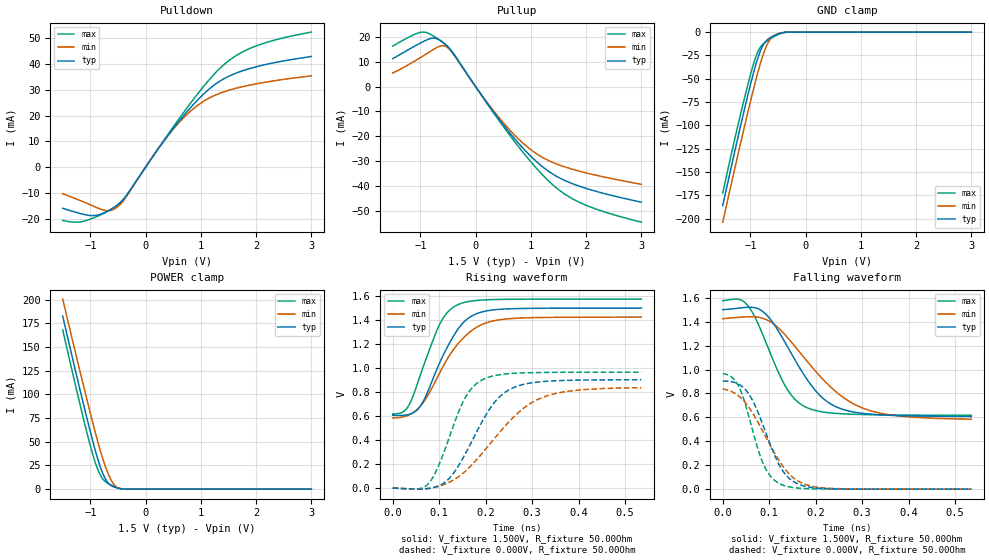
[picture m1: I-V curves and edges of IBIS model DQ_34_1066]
| [Disclaimer]  This software code and all associated documentation, comments
| or other information (collectively "Software") is provided
| "AS IS" without warranty of any kind. MICRON TECHNOLOGY, INC.
| ("MTI") EXPRESSLY DISCLAIMS ALL WARRANTIES EXPRESS OR IMPLIED,
| INCLUDING BUT NOT LIMITED TO, NONINFRINGEMENT OF THIRD PARTY
| RIGHTS, AND ANY IMPLIED WARRANTIES OF MERCHANTABILITY OR
| FITNESS FOR ANY PARTICULAR PURPOSE. MTI DOES NOT WARRANT THAT
| THE SOFTWARE WILL MEET YOUR REQUIREMENTS, OR THAT THE
| OPERATION OF THE SOFTWARE WILL BE UNINTERRUPTED OR ERROR-FREE.
| FURTHERMORE, MTI DOES NOT MAKE ANY REPRESENTATIONS REGARDING
| THE USE OR THE RESULTS OF THE USE OF THE SOFTWARE IN TERMS OF
| ITS CORRECTNESS, ACCURACY, RELIABILITY, OR OTHERWISE. THE
| ENTIRE RISK ARISING OUT OF USE OR PERFORMANCE OF THE SOFTWARE
| REMAINS WITH YOU. IN NO EVENT SHALL MTI, ITS AFFILIATED
| COMPANIES OR THEIR SUPPLIERS BE LIABLE FOR ANY DIRECT,
| INDIRECT, CONSEQUENTIAL, INCIDENTAL, OR SPECIAL DAMAGES
| (INCLUDING, WITHOUT LIMITATION, DAMAGES FOR LOSS OF PROFITS,
| BUSINESS INTERRUPTION, OR LOSS OF INFORMATION) ARISING OUT OF
| YOUR USE OF OR INABILITY TO USE THE SOFTWARE, EVEN IF MTI HAS
| BEEN ADVISED OF THE POSSIBILITY OF SUCH DAMAGES. Because some
| jurisdictions prohibit the exclusion or limitation of
| liability for consequential or incidental damages, the above
| limitation may not apply to you.
| [Copyright] Copyright 2015 Micron Technology, Inc. All rights reserved.
| From v00h.ibs, Micron Technology,Inc.
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| MODEL DQ_34_1066 (34 Ohm Data I/O with no ODT, 800/1066Mbps)
[Model]   DQ_34_1066
Model_type   I/O
Vinl = 575.000mV
Vinh = 925.000mV
Vmeas = 750.000mV
Vref = 750.000mV
Cref = 0.0pF
Rref = 25.000Ohm
|   typ   min   max
|C_comp   1.100pF   1.025pF   1.175pF
C_comp_pullup   0.5500pF   0.5125pF   0.5875pF
C_comp_pulldown   0.5500pF   0.5125pF   0.5875pF
[Model Spec]
| Input threshold voltage corners
Vinl   0.5750V   0.5375V   0.6125V
Vinh   0.9250V   0.8875V   0.9625V
| Measurement voltage corners
Vmeas   0.7500V   0.7125V   0.7875V
| Timing spec test load voltage corners
Vref   0.7500V   0.7125V   0.7875V
| Dynamic Overshoot Parameters from DDR3 Specification
|D_overshoot_ampl_h   0.40   NA   NA
|D_overshoot_ampl_l   0.40   NA   NA
|D_overshoot_area_h   0.19n   NA   NA
|D_overshoot_area_l   0.19n   NA   NA
[Receiver Thresholds]
Vth   =  0.750V
Vth_min  =  0.7350V
Vth_max  =  0.7650V
Vinh_ac  =  0.175V
Vinh_dc  =  0.100V
Vinl_ac  = -0.175V
Vinl_dc  = -0.100V
Tslew_ac =  5.000ns |Not specified, so set to high value
Threshold_sensitivity = 0.50
Reference_supply Pullup_ref
[Voltage Range]   1.5000V   1.4250V   1.5750V
[Pullup Reference]   1.5000V   1.4250V   1.5750V
| Junction Temperature (Ambient temp is 35C typ, 95C min, 0C max)
[Temperature Range]   50.0   110.0   0.0
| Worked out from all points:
|   slope of the pulldown table from 0 to 0.225 V, typ, clamps not added: 32.2 ohm
|   slope of the pullup table from 0 to 0.225 V, typ, clamps not added: 31.5 ohm
|   GND clamp passes 1 mA (typ) near -0.44 V on its own axis
|   POWER clamp passes 1 mA (typ) near -0.50 V on its own axis
|   falling waveform, V_fixture 1.500V, R_fixture 50.00Ohm: 20-80 % time 88.8ps typ, 123ps min, 67.3ps max; typ from 1.5 V to 0.607 V
|   rising waveform, V_fixture 1.500V, R_fixture 50.00Ohm: 20-80 % time 66.4ps typ, 81.1ps min, 55.9ps max; typ from 0.607 V to 1.5 V
|   rising waveform, V_fixture 0.000V, R_fixture 50.00Ohm: 20-80 % time 80.2ps typ, 119ps min, 59.6ps max; typ from 0 V to 0.903 V
|   falling waveform, V_fixture 0.000V, R_fixture 50.00Ohm: 20-80 % time 58.2ps typ, 75.2ps min, 46ps max; typ from 0.903 V to 0 V
[Pulldown]
|   Voltage   I(typ)   I(min)   I(max)
-1.5V     -16.01mA   -10.35mA   -20.75mA
-1.205V   -17.91mA   -12.8mA    -21.37mA
-925mV    -18.84mA   -15.35mA   -19.59mA
-740mV    -17.66mA   -16.79mA   -17.79mA
-590mV    -15.9mA    -16.56mA   -15.98mA
-360mV    -11.44mA   -11.87mA   -11.4mA
460mV     13.84mA    13.69mA    14.4mA
995mV     27.25mA    24.81mA    29.9mA
1.37V     33.74mA    28.91mA    38.9mA
1.74V     37.33mA    31.2mA     44.61mA
2.235V    40.17mA    33.24mA    48.77mA
3V        43.01mA    35.5mA     52.49mA
[GND Clamp]
|   Voltage   I(typ)   I(min)   I(max)
-1.5V     -186mA     -203.8mA   -172.6mA
-1.315V   -136.6mA   -155mA     -123.3mA
-1.16V    -96.29mA   -115mA     -83.85mA
-1.02V    -61.55mA   -79.79mA   -50.66mA
-925mV    -39.97mA   -57.01mA   -30.88mA
-845mV    -24.55mA   -39.15mA   -18.86mA
-765mV    -13.68mA   -23.7mA    -12.61mA
-675mV    -7.378mA   -11.11mA   -8.737mA
-585mV    -4.249mA   -4.347mA   -5.415mA
-475mV    -1.572mA   -1.264mA   -2.107mA
-320mV    -80.23uA   -77.6uA    -95.47uA
3V        0A         0A         0A
[Pullup]
|   Voltage   I(typ)   I(min)   I(max)
-1.5V     11.25mA    5.485mA    16.33mA
-935mV    18.28mA    12.56mA    21.97mA
-730mV    19.46mA    15.38mA    19.94mA
-540mV    16.84mA    16.23mA    16.85mA
-415mV    13.68mA    13.48mA    13.81mA
175mV     -5.578mA   -5.368mA   -5.743mA
495mV     -15.19mA   -14.36mA   -15.85mA
855mV     -24.74mA   -22.74mA   -26.39mA
1.185V    -31.82mA   -28.2mA    -34.93mA
1.525V    -36.87mA   -31.68mA   -41.92mA
1.865V    -40.04mA   -34mA      -46.48mA
3V        -46.59mA   -39.4mA    -54.64mA
[POWER Clamp]
|   Voltage   I(typ)   I(min)   I(max)
-1.5V     182.5mA    200.5mA    168mA
-1.115V   87.5mA     107mA      72.03mA
-1V       60.56mA    80.15mA    45.8mA
-910mV    40.77mA    59.85mA    28.01mA
-810mV    22mA       38.84mA    13.98mA
-725mV    10.61mA    23.55mA    7.788mA
-675mV    6.297mA    16.06mA    5.908mA
-620mV    3.641mA    9.228mA    4.207mA
-535mV    1.566mA    2.695mA    2.027mA
-440mV    397.8uA    483.3uA    506.5uA
-285mV    11.34uA    18.25uA    9.201uA
3V        0A         0A         0A
[Ramp]
R_load = 50.00Ohm
|   typ   min   max
dV/dt_r   541.763mV/80.074ps  502.149mV/119.390ps 579.431mV/59.565ps
dV/dt_f   535.788mV/88.788ps  504.293mV/122.940ps 574.386mV/67.181ps
[Falling Waveform]
V_fixture = 1.500V
V_fixture_min = 1.425V
V_fixture_max = 1.575V
R_fixture = 50.00Ohm
|   Time   V(typ)   V(min)   V(max)
0s        1.5V       1.425V     1.575V
48ps      1.519V     1.44V      1.559V
64ps      1.52V      1.442V     1.477V
89ps      1.476V     1.425V     1.265V
140ps     1.187V     1.265V     828mV
180ps     925.7mV    1.077V     683.6mV
235ps     706.2mV    844.4mV    636.2mV
308ps     630.7mV    668mV      623.2mV
381ps     614.7mV    610.8mV    619.6mV
535ps     607mV      584.5mV    617.7mV
[Rising Waveform]
V_fixture = 1.500V
V_fixture_min = 1.425V
V_fixture_max = 1.575V
R_fixture = 50.00Ohm
|   Time   V(typ)   V(min)   V(max)
0s        607mV      584.5mV    617.7mV
31ps      610.3mV    603.3mV    667.4mV
57ps      670.1mV    672.8mV    914.1mV
71ps      764.3mV    743.6mV    1.068V
102ps     1.053V     967.1mV    1.372V
119ps     1.185V     1.086V     1.469V
140ps     1.322V     1.2V       1.528V
172ps     1.438V     1.318V     1.56V
227ps     1.489V     1.401V     1.572V
535ps     1.5V       1.425V     1.575V
[Rising Waveform]
V_fixture = 0.000V
V_fixture_min = 0.000V
V_fixture_max = 0.000V
R_fixture = 50.00Ohm
|   Time   V(typ)   V(min)   V(max)
0s        -18.79uV   -18.56uV   -17.7uV
57ps      -8.758mV   -8.983mV   -4.897mV
78ps      -1.521mV   -3.511mV   42.5mV
117ps     62.79mV    40.29mV    371.1mV
154ps     269.4mV    132.5mV    738.3mV
196ps     579.2mV    306.2mV    908.3mV
246ps     809mV      534.8mV    952.1mV
320ps     886.5mV    751.5mV    963.4mV
394ps     899.2mV    814.4mV    965.2mV
535ps     902.9mV    836.9mV    965.7mV
[Falling Waveform]
V_fixture = 0.000V
V_fixture_min = 0.000V
V_fixture_max = 0.000V
R_fixture = 50.00Ohm
|   Time   V(typ)   V(min)   V(max)
0s        902.9mV    836.9mV    965.7mV
31ps      884.3mV    789.1mV    882.4mV
43ps      854.4mV    748.2mV    778.6mV
57ps      789.5mV    680.6mV    597.4mV
77ps      632mV      551.6mV    320.1mV
91ps      490.7mV    449.8mV    180.7mV
125ps     179.6mV    217mV      40.9mV
156ps     54.86mV    83.32mV    11.17mV
207ps     8.146mV    14.87mV    2.018mV
535ps     -18.79uV   -18.56uV   -17.7uV
